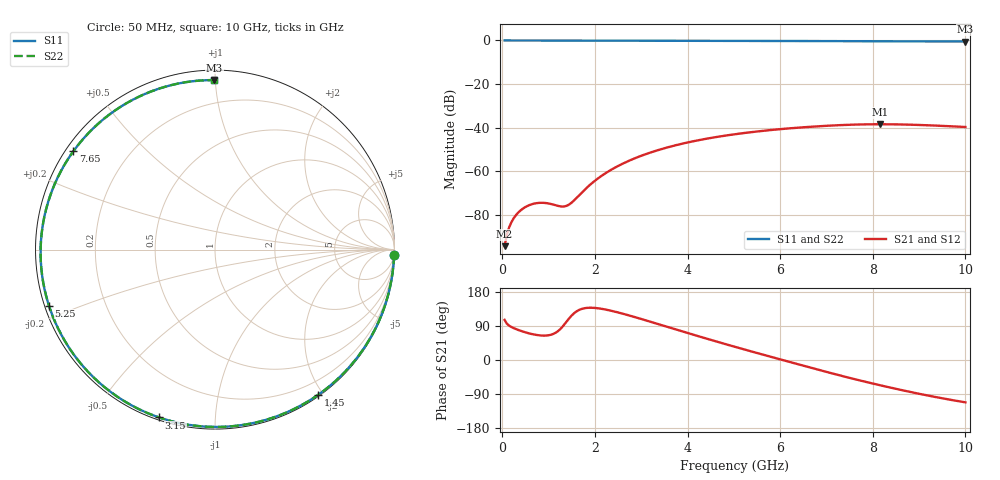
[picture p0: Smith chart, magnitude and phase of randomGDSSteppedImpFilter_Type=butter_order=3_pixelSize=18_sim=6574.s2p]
! freq	dB(S11)	phase(S11)	dB(S12)	phase(S12)
!  dB(S21)	phase(S21)	dB(S22)	phase(S22)
!S-par simulation data
#  GHz  S  DB  R 50
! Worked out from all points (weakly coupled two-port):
!   200 points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, 50 MHz to 10 GHz, reference 50 ohm
!   highest |S21| = -38.44 dB at 8.15 GHz (marker M1); lowest = -94.4 dB at 50 MHz (marker M2)
!   lowest |S11| = -0.5 dB at 10 GHz (marker M3), VSWR 34.94, Z = 2.85 + j49.7 ohm
!   |S11| at or under -10 dB: nowhere
!   |S22| runs from -0.5 to 0.0 dB; largest |S21 - S12| = 0
!   S11 on the Smith chart (normalised r, x): 50 MHz: 2, -61; 1.45 GHz: 0.02, -1.94; 3.15 GHz: 0.01, -0.72; 5.25 GHz: 0.01, -0.16; 7.65 GHz: 0.02, +0.31; 10 GHz: 0.06, +0.99
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0.05  -0.01 -1.9  -94.38 105.9  -94.38 105.9  -0.01 -1.9
0.3  -0.02 -11.6  -80.01 81.3  -80.01 81.3  -0.02 -11.6
0.5  -0.03 -19.3  -76.41 73.0  -76.41 73.0  -0.03 -19.3
0.75  -0.04 -28.9  -74.62 65.9  -74.62 65.9  -0.04 -28.9
0.95  -0.05 -36.4  -74.62 64.5  -74.62 64.5  -0.05 -36.4
1.3  -0.06 -49.2  -76.21 87.8  -76.21 87.8  -0.06 -49.2
1.45  -0.07 -54.5  -75.17 110.7  -75.17 110.7  -0.07 -54.5
1.75  -0.08 -64.9  -69.07 136.0  -69.07 136.0  -0.08 -64.9
2.05  -0.09 -74.9  -63.55 136.8  -63.55 136.8  -0.09 -74.9
2.35  -0.10 -84.6  -59.34 130.0  -59.34 130.0  -0.10 -84.6
3.15  -0.12 -108.4  -51.78 102.8  -51.78 102.8  -0.12 -108.4
3.4  -0.13 -115.4  -50.08 93.5  -50.08 93.5  -0.13 -115.4
4.25  -0.16 -137.5  -45.71 62.2  -45.71 62.2  -0.16 -137.5
5.05  -0.20 -156.8  -42.95 33.9  -42.95 33.9  -0.20 -156.8
5.25  -0.21 -161.4  -42.40 27.0  -42.40 27.0  -0.21 -161.4
5.95  -0.24 -177.2  -40.79 3.4  -40.79 3.4  -0.24 -177.2
6.7  -0.29 166.2  -39.55 -21.6  -39.55 -21.6  -0.29 166.2
7.65  -0.35 145.1  -38.58 -51.8  -38.58 -51.8  -0.35 145.1
8.15  -0.38 133.9  -38.44 -66.4  -38.44 -66.4  -0.38 133.9
8.35  -0.39 129.3  -38.46 -72.0  -38.46 -72.0  -0.39 129.3
9.2  -0.45 109.6  -38.92 -94.0  -38.92 -94.0  -0.45 109.6
10  -0.50 90.3  -39.71 -111.8  -39.71 -111.8  -0.50 90.3
